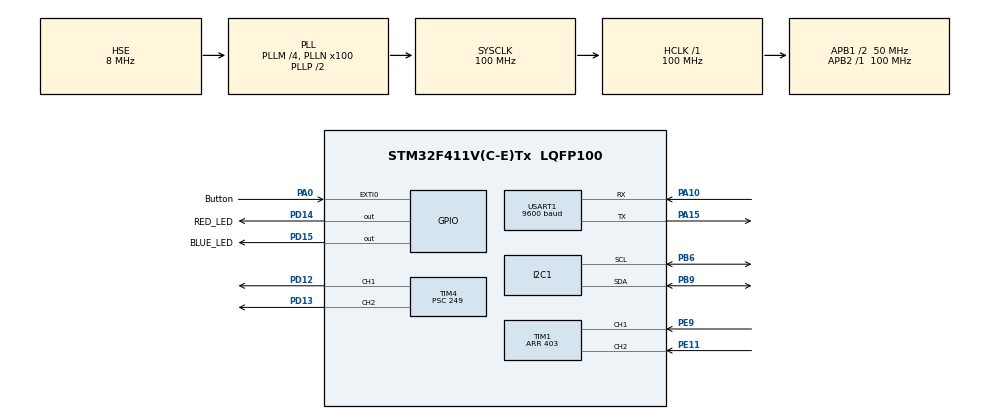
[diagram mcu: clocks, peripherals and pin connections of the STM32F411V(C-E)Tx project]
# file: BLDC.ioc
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I2C1.I2C_Mode=I2C_Fast
Mcu.Family=STM32F4
Mcu.Name=STM32F411V(C-E)Tx
Mcu.Package=LQFP100
NVIC.EXTI0_IRQn=true\:0\:0\:false\:false\:true\:true
NVIC.PriorityGroup=NVIC_PRIORITYGROUP_4
NVIC.TIM1_UP_TIM10_IRQn=true\:0\:0\:false\:false\:true\:true
NVIC.USART1_IRQn=true\:0\:0\:false\:false\:true\:true
PA0-WKUP.GPIO_Label=Button
PA0-WKUP.GPIO_ModeDefaultEXTI=GPIO_MODE_IT_FALLING
PA0-WKUP.Signal=GPXTI0
PA10.Mode=Asynchronous
PA10.Signal=USART1_RX
PA15.Mode=Asynchronous
PA15.Signal=USART1_TX
PB6.Mode=I2C
PB6.Signal=I2C1_SCL
PB9.Mode=I2C
PB9.Signal=I2C1_SDA
PD12.Signal=S_TIM4_CH1
PD13.Signal=S_TIM4_CH2
PD14.GPIO_Label=RED_LED
PD14.Signal=GPIO_Output
PD15.GPIO_Label=BLUE_LED
PD15.Signal=GPIO_Output
PE11.Signal=S_TIM1_CH2
PE9.Signal=S_TIM1_CH1
PH0\ -\ OSC_IN.Mode=HSE-External-Oscillator
PH0\ -\ OSC_IN.Signal=RCC_OSC_IN
PH1\ -\ OSC_OUT.Mode=HSE-External-Oscillator
PH1\ -\ OSC_OUT.Signal=RCC_OSC_OUT
ProjectManager.HeapSize=0x200
ProjectManager.StackSize=0x400
ProjectManager.TargetToolchain=SW4STM32
RCC.48MHZClocksFreq_Value=50000000
RCC.AHBFreq_Value=100000000
RCC.APB1CLKDivider=RCC_HCLK_DIV2
RCC.APB1Freq_Value=50000000
RCC.APB1TimFreq_Value=100000000
RCC.APB2Freq_Value=100000000
RCC.APB2TimFreq_Value=100000000
RCC.CortexFreq_Value=100000000
RCC.HCLKFreq_Value=100000000
RCC.HSE_VALUE=8000000
RCC.HSI_VALUE=16000000
RCC.LSE_VALUE=32768
RCC.PLLM=4
RCC.PLLN=100
RCC.PLLSourceVirtual=RCC_PLLSOURCE_HSE
RCC.SYSCLKFreq_VALUE=100000000
RCC.SYSCLKSource=RCC_SYSCLKSOURCE_PLLCLK
RCC.VCOOutputFreq_Value=200000000
SH.S_TIM1_CH1.0=TIM1_CH1,Encoder_Interface
SH.S_TIM1_CH2.0=TIM1_CH2,Encoder_Interface
SH.S_TIM4_CH1.0=TIM4_CH1,PWM Generation1 CH1
SH.S_TIM4_CH2.0=TIM4_CH2,PWM Generation2 CH2
TIM1.EncoderMode=TIM_ENCODERMODE_TI12
TIM1.IC1Filter=15
TIM1.IC2Filter=15
TIM1.Period=403
TIM10.Period=9999
TIM10.Prescaler=9999
TIM4.Channel-PWM\ Generation1\ CH1=TIM_CHANNEL_1
TIM4.Channel-PWM\ Generation2\ CH2=TIM_CHANNEL_2
TIM4.ClockDivision=TIM_CLOCKDIVISION_DIV4
TIM4.OCFastMode_PWM-PWM\ Generation1\ CH1=TIM_OCFAST_ENABLE
TIM4.OCPolarity_1=TIM_OCPOLARITY_HIGH
TIM4.Period=99
TIM4.Prescaler=249
USART1.BaudRate=9600
USART1.VirtualMode=VM_ASYNC
VP_TIM10_VS_ClockSourceINT.Mode=Enable_Timer
VP_TIM4_VS_ClockSourceINT.Mode=Internal
board=BLDC

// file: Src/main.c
/**
  ******************************************************************************
  * @file           : main.c
  * @brief          : Main program body
  ******************************************************************************
  ** This notice applies to any and all portions of this file
  * that are not between comment pairs USER CODE BEGIN and
  * USER CODE END. Other portions of this file, whether
  * inserted by the user or by software development tools
  * are owned by their respective copyright owners.
  *
  * COPYRIGHT(c) 2020 STMicroelectronics
  *
  * Redistribution and use in source and binary forms, with or without modification,
  * are permitted provided that the following conditions are met:
  *   1. Redistributions of source code must retain the above copyright notice,
  *      this list of conditions and the following disclaimer.
  *   2. Redistributions in binary form must reproduce the above copyright notice,
  *      this list of conditions and the following disclaimer in the documentation
  *      and/or other materials provided with the distribution.
  *   3. Neither the name of STMicroelectronics nor the names of its contributors
  *      may be used to endorse or promote products derived from this software
  *      without specific prior written permission.
  *
  * THIS SOFTWARE IS PROVIDED BY THE COPYRIGHT HOLDERS AND CONTRIBUTORS "AS IS"
  * AND ANY EXPRESS OR IMPLIED WARRANTIES, INCLUDING, BUT NOT LIMITED TO, THE
  * IMPLIED WARRANTIES OF MERCHANTABILITY AND FITNESS FOR A PARTICULAR PURPOSE ARE
  * DISCLAIMED. IN NO EVENT SHALL THE COPYRIGHT HOLDER OR CONTRIBUTORS BE LIABLE
  * FOR ANY DIRECT, INDIRECT, INCIDENTAL, SPECIAL, EXEMPLARY, OR CONSEQUENTIAL
  * DAMAGES (INCLUDING, BUT NOT LIMITED TO, PROCUREMENT OF SUBSTITUTE GOODS OR
  * SERVICES; LOSS OF USE, DATA, OR PROFITS; OR BUSINESS INTERRUPTION) HOWEVER
  * CAUSED AND ON ANY THEORY OF LIABILITY, WHETHER IN CONTRACT, STRICT LIABILITY,
  * OR TORT (INCLUDING NEGLIGENCE OR OTHERWISE) ARISING IN ANY WAY OUT OF THE USE
  * OF THIS SOFTWARE, EVEN IF ADVISED OF THE POSSIBILITY OF SUCH DAMAGE.
  *
  ******************************************************************************
  */
#include "main.h"
#include "stm32f4xx_hal.h"

/* USER CODE BEGIN Includes */

#include <limits.h>
#include <math.h>

//#define PI 3.14

//define akcelerometr
#define IMU_ADRESS (0x19 << 1) // adres akcelerometru: 0011 001x
#define IMU_CTRL_REG1_A 0x20 // rejestr ustawien 1
#define IMU_XYZ_ENABLE (0x07 | 0x80)
#define IMU_400HZ 0x50 // 0101 0000
#define IMU_X_L_A (0x28 | 0x80) // mlodszy bajt danych osi X + dodanie 1 na pocz¹tek ¿eby wymusic inkremetacjê
#define IMU_Resolution 2.0

//define magnetometr
#define MAG_ADRESS (0x1E <<1)
#define MAG_FRST_REG 0x00 // rejestr z ustawieniami czestotliwosci
#define MAG_Frequency 0x1C
#define MAG_ON_REG 0x02 //rejestr z stanem urzadzenia
#define MAG_ON 0x0
#define MAG_OUT_REG (0x03 | 0x80 )
#define MAG_Resolution 1.3
#define MAG_MAXIMUM 2047;
/* USER CODE END Includes */

I2C_HandleTypeDef hi2c1;

TIM_HandleTypeDef htim1;
TIM_HandleTypeDef htim4;
TIM_HandleTypeDef htim10;

UART_HandleTypeDef huart1;

/* USER CODE BEGIN PV */
/* Private variables ---------------------------------------------------------*/

uint16_t Received[3]; // zmienna odbieraj¹ca dane od kontrolera
uint16_t pwm_set = 50;
char data[100];
uint16_t size = 0;
int pwm_received;
// zmnienne obs³uguj¹ce akcelerometr
uint8_t IMU_Settings = IMU_XYZ_ENABLE | IMU_400HZ;
uint8_t IMU_Reading[6];
int16_t IMU_Z_Reading;
int16_t IMU_X_Reading;
int16_t IMU_Y_Reading; // zmienne odczytuj¹ce dane z ró¿nych osi pomiarowych imu
float Z_G = 0;
float X_G = 0;
float Y_G = 0;
//zmnienne obs³uguj¹ce magnetometr
uint8_t MAG_Reading[6];
int16_t MAG_Z_Reading = 0;
int16_t MAG_X_Reading = 0;
int16_t MAG_Y_Reading = 0;
uint8_t MAG_Settings_FRQ = MAG_Frequency;
uint8_t MAG_Settings_ON = MAG_ON;
double Z_MAG = 0;
double X_MAG = 0;
double Y_MAG = 0;
//k¹ty Eulera
double roll = 0;
double pitch = 0;
double yaw = 0;

/* USER CODE END PV */

void SystemClock_Config(void);
static void MX_GPIO_Init(void);
static void MX_TIM1_Init(void);
static void MX_TIM4_Init(void);
static void MX_TIM10_Init(void);
static void MX_USART1_UART_Init(void);
static void MX_I2C1_Init(void);

void HAL_TIM_MspPostInit(TIM_HandleTypeDef *htim);

/* USER CODE BEGIN PFP */
/* Private function prototypes -----------------------------------------------*/
void HAL_UART_RxCpltCallback(UART_HandleTypeDef *huart)   // przerwanie od otrzymania wiadomoœci po UARCIE
{
	HAL_GPIO_WritePin(RED_LED_GPIO_Port, RED_LED_Pin, GPIO_PIN_SET); // jeœli dostaje wiadomoœc to zapala sie czerwona dioda

	pwm_received = atoi(Received);
	//HAL_UART_Transmit_IT(&huart1,  &Received, 40);
	if(pwm_received <=95 && pwm_received >=45)
	{
		TIM4 -> CCR1 = pwm_received;
		HAL_GPIO_TogglePin(BLUE_LED_GPIO_Port, BLUE_LED_Pin); // jesli wiadomosc jest poprawna to zapala sie niebieska dioda
		size= sprintf(data, "Zmieniono predkosc na:%d\n", pwm_received);
	}
	else
	{
		size= sprintf(data, "Bledna wartosc: %d\n", pwm_received);
	}
	HAL_UART_Receive_IT(&huart1, Received, 3);
	//HAL_UART_Transmit_IT(&huart1, data, size);
}

void HAL_GPIO_EXTI_Callback(uint16_t GPIO_Pin)
{
	TIM4 -> CCR1= 45;
	TIM4 -> CCR2= 45;
	TIM4 -> CCR3= 45;
	TIM4 -> CCR4= 45;
}
/* USER CODE END PFP */

/* USER CODE BEGIN 0 */
//uint32_t Duty=0;

/* USER CODE END 0 */

int main(void)
{

  /* MCU Configuration----------------------------------------------------------*/

  /* Reset of all peripherals, Initializes the Flash interface and the Systick. */
  HAL_Init();

  /* Configure the system clock */
  SystemClock_Config();

  /* Initialize all configured peripherals */
  MX_GPIO_Init();
  MX_TIM1_Init();
  MX_TIM4_Init();
  MX_TIM10_Init();
  MX_USART1_UART_Init();
  MX_I2C1_Init();
  /* USER CODE BEGIN 2 */
      //uint8_t flag =0;
  HAL_TIM_Encoder_Start(&htim1, TIM_CHANNEL_ALL);
  HAL_TIM_PWM_Start(&htim4, TIM_CHANNEL_1);
  TIM4 -> CCR1= 95;
  HAL_UART_Receive_IT(&huart1, Received, 3);

  HAL_I2C_Mem_Write(&hi2c1, IMU_ADRESS, IMU_CTRL_REG1_A, 1, &IMU_Settings, 1, 100);
  HAL_I2C_Mem_Write(&hi2c1, MAG_ADRESS, MAG_FRST_REG, 1, &MAG_Settings_FRQ, 1, 100);
  HAL_I2C_Mem_Write(&hi2c1, MAG_ADRESS, MAG_ON_REG, 1, &MAG_Settings_ON, 1, 100);
  /* USER CODE END 2 */

  /* Infinite loop */
  /* USER CODE BEGIN WHILE */
  while (1)
  {
	  //pobieranie danych z akcelerometru
	  HAL_I2C_Mem_Read(&hi2c1, IMU_ADRESS, IMU_X_L_A, 1, IMU_Reading, 6, 100);
	  IMU_X_Reading = ((IMU_Reading[1] << 8) | IMU_Reading[0]);
	  IMU_Y_Reading = ((IMU_Reading[3] << 8) | IMU_Reading[2]);
	  IMU_Z_Reading = ((IMU_Reading[5] << 8) | IMU_Reading[4]);
	  HAL_Delay(500);
	  X_G = ((double)IMU_X_Reading * IMU_Resolution)/(double)INT16_MAX;
	  Y_G = ((double)IMU_Y_Reading * IMU_Resolution)/(double)INT16_MAX;
	  Z_G = ((double)IMU_Z_Reading * IMU_Resolution)/(double)INT16_MAX;
	  //size=sprintf(data,"X: %f Y: %f Z: %f \n", X_G, Y_G, Z_G );

	  // pobieranie danych z magnetometru
	  HAL_I2C_Mem_Read(&hi2c1, MAG_ADRESS, MAG_OUT_REG, 1, MAG_Reading, 6, 100);
	  MAG_X_Reading = ((MAG_Reading[0] << 8) | MAG_Reading[1]);
	  MAG_Z_Reading = ((MAG_Reading[2] << 8) | MAG_Reading[3]);
	  MAG_Y_Reading = ((MAG_Reading[4] << 8) | MAG_Reading[5]);

	  //przekszta³cenie odczytu z magnetometru na wartoœci w mikroTeslach
	  X_MAG = 100*((float)MAG_X_Reading * MAG_Resolution)/MAG_MAXIMUM;
	  Y_MAG = 100*((float)MAG_Y_Reading * MAG_Resolution)/MAG_MAXIMUM;
	  Z_MAG = 100*((float)MAG_Z_Reading * MAG_Resolution)/MAG_MAXIMUM;

	  //obliczenie k¹tów Eulera
	  roll = atan2(Y_G , sqrt((X_G * X_G) + (Z_G * Z_G)));
	  pitch	 = atan2((-1)*X_G ,( sqrt((Y_G * Y_G) + (Z_G * Z_G))));

	  float Yh = (X_MAG * cos(pitch)) - (Z_MAG * sin(pitch));
	  float Xh = (Y_MAG * cos(roll))+(X_MAG * sin(pitch)*sin(roll)) + (Z_MAG * cos(pitch) * sin(roll));

	  //przekszta³cenie z raianów na stopnie
	  roll = 180/3.14*roll;
	  pitch = 180/3.4*pitch;
	  yaw = 180/3.14*atan2(Yh,Xh);

	  size=sprintf(data,"%d\t%d\t%d\n", (int)pitch, (int)roll, (int)yaw);
	  HAL_UART_Transmit_IT(&huart1, data, size);
  }
  /* USER CODE END WHILE */

}

void SystemClock_Config(void)
{

  RCC_OscInitTypeDef RCC_OscInitStruct;
  RCC_ClkInitTypeDef RCC_ClkInitStruct;

    /**Configure the main internal regulator output voltage
    */
  __HAL_RCC_PWR_CLK_ENABLE();

  __HAL_PWR_VOLTAGESCALING_CONFIG(PWR_REGULATOR_VOLTAGE_SCALE1);

    /**Initializes the CPU, AHB and APB busses clocks
    */
  RCC_OscInitStruct.OscillatorType = RCC_OSCILLATORTYPE_HSE;
  RCC_OscInitStruct.HSEState = RCC_HSE_ON;
  RCC_OscInitStruct.PLL.PLLState = RCC_PLL_ON;
  RCC_OscInitStruct.PLL.PLLSource = RCC_PLLSOURCE_HSE;
  RCC_OscInitStruct.PLL.PLLM = 4;
  RCC_OscInitStruct.PLL.PLLN = 100;
  RCC_OscInitStruct.PLL.PLLP = RCC_PLLP_DIV2;
  RCC_OscInitStruct.PLL.PLLQ = 4;
  if (HAL_RCC_OscConfig(&RCC_OscInitStruct) != HAL_OK)
  {
    _Error_Handler(__FILE__, __LINE__);
  }

    /**Initializes the CPU, AHB and APB busses clocks
    */
  RCC_ClkInitStruct.ClockType = RCC_CLOCKTYPE_HCLK|RCC_CLOCKTYPE_SYSCLK
                              |RCC_CLOCKTYPE_PCLK1|RCC_CLOCKTYPE_PCLK2;
  RCC_ClkInitStruct.SYSCLKSource = RCC_SYSCLKSOURCE_PLLCLK;
  RCC_ClkInitStruct.AHBCLKDivider = RCC_SYSCLK_DIV1;
  RCC_ClkInitStruct.APB1CLKDivider = RCC_HCLK_DIV2;
  RCC_ClkInitStruct.APB2CLKDivider = RCC_HCLK_DIV1;

  if (HAL_RCC_ClockConfig(&RCC_ClkInitStruct, FLASH_LATENCY_3) != HAL_OK)
  {
    _Error_Handler(__FILE__, __LINE__);
  }

    /**Configure the Systick interrupt time
    */
  HAL_SYSTICK_Config(HAL_RCC_GetHCLKFreq()/1000);

    /**Configure the Systick
    */
  HAL_SYSTICK_CLKSourceConfig(SYSTICK_CLKSOURCE_HCLK);

  /* SysTick_IRQn interrupt configuration */
  HAL_NVIC_SetPriority(SysTick_IRQn, 0, 0);
}

/* I2C1 init function */
static void MX_I2C1_Init(void)
{

  hi2c1.Instance = I2C1;
  hi2c1.Init.ClockSpeed = 400000;
  hi2c1.Init.DutyCycle = I2C_DUTYCYCLE_2;
  hi2c1.Init.OwnAddress1 = 0;
  hi2c1.Init.AddressingMode = I2C_ADDRESSINGMODE_7BIT;
  hi2c1.Init.DualAddressMode = I2C_DUALADDRESS_DISABLE;
  hi2c1.Init.OwnAddress2 = 0;
  hi2c1.Init.GeneralCallMode = I2C_GENERALCALL_DISABLE;
  hi2c1.Init.NoStretchMode = I2C_NOSTRETCH_DISABLE;
  if (HAL_I2C_Init(&hi2c1) != HAL_OK)
  {
    _Error_Handler(__FILE__, __LINE__);
  }

}

/* TIM1 init function */
static void MX_TIM1_Init(void)
{

  TIM_Encoder_InitTypeDef sConfig;
  TIM_MasterConfigTypeDef sMasterConfig;

  htim1.Instance = TIM1;
  htim1.Init.Prescaler = 0;
  htim1.Init.CounterMode = TIM_COUNTERMODE_UP;
  htim1.Init.Period = 403;
  htim1.Init.ClockDivision = TIM_CLOCKDIVISION_DIV1;
  htim1.Init.RepetitionCounter = 0;
  sConfig.EncoderMode = TIM_ENCODERMODE_TI12;
  sConfig.IC1Polarity = TIM_ICPOLARITY_RISING;
  sConfig.IC1Selection = TIM_ICSELECTION_DIRECTTI;
  sConfig.IC1Prescaler = TIM_ICPSC_DIV1;
  sConfig.IC1Filter = 15;
  sConfig.IC2Polarity = TIM_ICPOLARITY_RISING;
  sConfig.IC2Selection = TIM_ICSELECTION_DIRECTTI;
  sConfig.IC2Prescaler = TIM_ICPSC_DIV1;
  sConfig.IC2Filter = 15;
  if (HAL_TIM_Encoder_Init(&htim1, &sConfig) != HAL_OK)
  {
    _Error_Handler(__FILE__, __LINE__);
  }

  sMasterConfig.MasterOutputTrigger = TIM_TRGO_RESET;
  sMasterConfig.MasterSlaveMode = TIM_MASTERSLAVEMODE_DISABLE;
  if (HAL_TIMEx_MasterConfigSynchronization(&htim1, &sMasterConfig) != HAL_OK)
  {
    _Error_Handler(__FILE__, __LINE__);
  }

}

/* TIM4 init function */
static void MX_TIM4_Init(void)
{

  TIM_ClockConfigTypeDef sClockSourceConfig;
  TIM_MasterConfigTypeDef sMasterConfig;
  TIM_OC_InitTypeDef sConfigOC;

  htim4.Instance = TIM4;
  htim4.Init.Prescaler = 249;
  htim4.Init.CounterMode = TIM_COUNTERMODE_UP;
  htim4.Init.Period = 99;
  htim4.Init.ClockDivision = TIM_CLOCKDIVISION_DIV4;
  if (HAL_TIM_Base_Init(&htim4) != HAL_OK)
  {
    _Error_Handler(__FILE__, __LINE__);
  }

  sClockSourceConfig.ClockSource = TIM_CLOCKSOURCE_INTERNAL;
  if (HAL_TIM_ConfigClockSource(&htim4, &sClockSourceConfig) != HAL_OK)
  {
    _Error_Handler(__FILE__, __LINE__);
  }

  if (HAL_TIM_PWM_Init(&htim4) != HAL_OK)
  {
    _Error_Handler(__FILE__, __LINE__);
  }

  sMasterConfig.MasterOutputTrigger = TIM_TRGO_RESET;
  sMasterConfig.MasterSlaveMode = TIM_MASTERSLAVEMODE_DISABLE;
  if (HAL_TIMEx_MasterConfigSynchronization(&htim4, &sMasterConfig) != HAL_OK)
  {
    _Error_Handler(__FILE__, __LINE__);
  }

  sConfigOC.OCMode = TIM_OCMODE_PWM1;
  sConfigOC.Pulse = 0;
  sConfigOC.OCPolarity = TIM_OCPOLARITY_HIGH;
  sConfigOC.OCFastMode = TIM_OCFAST_ENABLE;
  if (HAL_TIM_PWM_ConfigChannel(&htim4, &sConfigOC, TIM_CHANNEL_1) != HAL_OK)
  {
    _Error_Handler(__FILE__, __LINE__);
  }

  sConfigOC.OCFastMode = TIM_OCFAST_DISABLE;
  if (HAL_TIM_PWM_ConfigChannel(&htim4, &sConfigOC, TIM_CHANNEL_2) != HAL_OK)
  {
    _Error_Handler(__FILE__, __LINE__);
  }

  HAL_TIM_MspPostInit(&htim4);

}

/* TIM10 init function */
static void MX_TIM10_Init(void)
{

  htim10.Instance = TIM10;
  htim10.Init.Prescaler = 9999;
  htim10.Init.CounterMode = TIM_COUNTERMODE_UP;
  htim10.Init.Period = 9999;
  htim10.Init.ClockDivision = TIM_CLOCKDIVISION_DIV1;
  if (HAL_TIM_Base_Init(&htim10) != HAL_OK)
  {
    _Error_Handler(__FILE__, __LINE__);
  }

}

/* USART1 init function */
static void MX_USART1_UART_Init(void)
{

  huart1.Instance = USART1;
  huart1.Init.BaudRate = 9600;
  huart1.Init.WordLength = UART_WORDLENGTH_8B;
  huart1.Init.StopBits = UART_STOPBITS_1;
  huart1.Init.Parity = UART_PARITY_NONE;
  huart1.Init.Mode = UART_MODE_TX_RX;
  huart1.Init.HwFlowCtl = UART_HWCONTROL_NONE;
  huart1.Init.OverSampling = UART_OVERSAMPLING_16;
  if (HAL_UART_Init(&huart1) != HAL_OK)
  {
    _Error_Handler(__FILE__, __LINE__);
  }

}

/** Configure pins as
        * Analog
        * Input
        * Output
        * EVENT_OUT
        * EXTI
*/
static void MX_GPIO_Init(void)
{

  GPIO_InitTypeDef GPIO_InitStruct;

  /* GPIO Ports Clock Enable */
  __HAL_RCC_GPIOH_CLK_ENABLE();
  __HAL_RCC_GPIOA_CLK_ENABLE();
  __HAL_RCC_GPIOE_CLK_ENABLE();
  __HAL_RCC_GPIOD_CLK_ENABLE();
  __HAL_RCC_GPIOB_CLK_ENABLE();

  /*Configure GPIO pin Output Level */
  HAL_GPIO_WritePin(GPIOD, RED_LED_Pin|BLUE_LED_Pin, GPIO_PIN_RESET);

  /*Configure GPIO pin : Button_Pin */
  GPIO_InitStruct.Pin = Button_Pin;
  GPIO_InitStruct.Mode = GPIO_MODE_IT_FALLING;
  GPIO_InitStruct.Pull = GPIO_NOPULL;
  HAL_GPIO_Init(Button_GPIO_Port, &GPIO_InitStruct);

  /*Configure GPIO pins : RED_LED_Pin BLUE_LED_Pin */
  GPIO_InitStruct.Pin = RED_LED_Pin|BLUE_LED_Pin;
  GPIO_InitStruct.Mode = GPIO_MODE_OUTPUT_PP;
  GPIO_InitStruct.Pull = GPIO_NOPULL;
  GPIO_InitStruct.Speed = GPIO_SPEED_FREQ_LOW;
  HAL_GPIO_Init(GPIOD, &GPIO_InitStruct);

  /* EXTI interrupt init*/
  HAL_NVIC_SetPriority(EXTI0_IRQn, 0, 0);
  HAL_NVIC_EnableIRQ(EXTI0_IRQn);

}

void _Error_Handler(char *file, int line)
{
  while(1)
  {
  }
}

/************************ (C) COPYRIGHT STMicroelectronics *****END OF FILE****/
